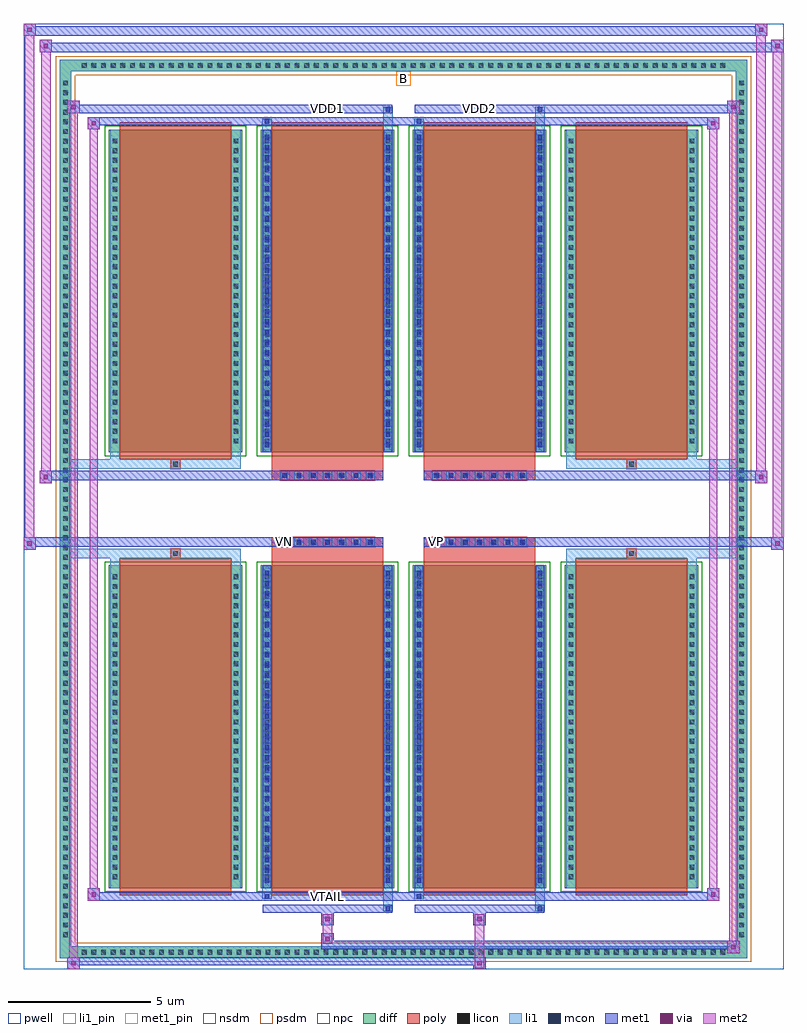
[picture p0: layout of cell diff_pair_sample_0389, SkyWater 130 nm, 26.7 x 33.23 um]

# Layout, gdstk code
import gdstk
lib = gdstk.Library(unit=1e-6, precision=5e-09)
def R(c, l, rs):  # rectangles x0, y0, x1, y1
    for r in rs: c.add(gdstk.rectangle(r[:2], r[2:], *l))
def A(c, l, x, y, w, h, nx, ny, dx, dy):  # array of equal rectangles
    R(c, l, [(x+i*dx, y+j*dy, x+i*dx+w, y+j*dy+h) for i in range(nx) for j in range(ny)])
def P(c, l, *ps):  # polygons
    for p in ps: c.add(gdstk.Polygon(p, *l))
pwell = (64, 44)
diff = (65, 20)
poly = (66, 20)
licon = (66, 44)
li1_pin = (67, 16)
li1 = (67, 20)
mcon = (67, 44)
met1_pin = (68, 16)
met1 = (68, 20)
via = (68, 44)
met2 = (69, 20)
nsdm = (93, 44)
psdm = (94, 20)
npc = (95, 20)

diff_pair_sample_0389 = lib.new_cell('diff_pair_sample_0389')
R(diff_pair_sample_0389, pwell, [(-13.35,-16.18,13.35,17.05), (-10.67,-14.37,-0.01,-0.805), (0.01,-14.37,10.67,-0.805), (-10.67,0.805,-0.01,14.37), (0.01,0.805,10.67,14.37)])
A(diff_pair_sample_0389, diff, -11.425, -15.78, 0.41, 0.41, 67, 2, 0.34, 31.15)
A(diff_pair_sample_0389, diff, -12.08, -15.165, 0.41, 0.41, 1, 89, 0, 0.34)
A(diff_pair_sample_0389, diff, 11.67, -15.165, 0.41, 0.41, 1, 89, 0, 0.34)
A(diff_pair_sample_0389, diff, -10.36, -13.325, 4.7, 11.34, 4, 2, 5.34, 15.31)
R(diff_pair_sample_0389, diff, [(-11.425,-15.78,11.425,-15.37), (-12.08,-15.165,-11.67,15.165), (11.67,-15.165,12.08,15.165), (-11.425,15.37,11.425,15.78)])
P(diff_pair_sample_0389, diff, [(12.08,15.78),(-12.08,15.78),(-12.08,-15.37),(-11.67,-15.37),(-11.67,15.37),(11.67,15.37),(11.67,-15.37),(-11.67,-15.37),(-12.08,-15.37),(-12.08,-15.78),(12.08,-15.78)])
A(diff_pair_sample_0389, poly, -9.97, -13.575, 3.92, 11.84, 4, 2, 5.34, 15.31)
A(diff_pair_sample_0389, poly, -4.335, -1.335, 0.33, 0.33, 7, 2, 0.5, 2.34)
A(diff_pair_sample_0389, poly, 1.005, -1.335, 0.33, 0.33, 7, 2, 0.5, 2.34)
R(diff_pair_sample_0389, poly, [(-8.175,-1.735,-7.845,-1.405), (-8.175,-1.735,-7.845,-1.405), (-4.63,-1.735,-0.71,-1.335), (0.71,-1.735,4.63,-1.335), (7.845,-1.735,8.175,-1.405), (7.845,-1.735,8.175,-1.405), (-4.63,-1.335,-0.71,-1.005), (0.71,-1.335,4.63,-1.005), (-4.63,1.005,-0.71,1.335), (0.71,1.005,4.63,1.335), (-4.63,1.335,-0.71,1.735), (0.71,1.335,4.63,1.735), (-8.175,1.405,-7.845,1.735), (-8.175,1.405,-7.845,1.735), (7.845,1.405,8.175,1.735), (7.845,1.405,8.175,1.735)])
A(diff_pair_sample_0389, licon, -11.305, -15.66, 0.17, 0.17, 67, 2, 0.34, 31.15)
A(diff_pair_sample_0389, licon, -11.96, -15.045, 0.17, 0.17, 1, 89, 0, 0.34)
A(diff_pair_sample_0389, licon, 11.79, -15.045, 0.17, 0.17, 1, 89, 0, 0.34)
A(diff_pair_sample_0389, licon, -10.22, -13.01, 0.17, 0.17, 1, 32, 0, 0.34)
A(diff_pair_sample_0389, licon, -5.97, -13.01, 0.17, 0.17, 1, 32, 0, 0.34)
A(diff_pair_sample_0389, licon, -4.88, -13.01, 0.17, 0.17, 1, 32, 0, 0.34)
A(diff_pair_sample_0389, licon, -0.63, -13.01, 0.17, 0.17, 1, 32, 0, 0.34)
A(diff_pair_sample_0389, licon, 0.46, -13.01, 0.17, 0.17, 1, 32, 0, 0.34)
A(diff_pair_sample_0389, licon, 4.71, -13.01, 0.17, 0.17, 1, 32, 0, 0.34)
A(diff_pair_sample_0389, licon, 5.8, -13.01, 0.17, 0.17, 1, 32, 0, 0.34)
A(diff_pair_sample_0389, licon, 10.05, -13.01, 0.17, 0.17, 1, 32, 0, 0.34)
A(diff_pair_sample_0389, licon, -4.255, -1.255, 0.17, 0.17, 7, 2, 0.5, 2.34)
A(diff_pair_sample_0389, licon, 1.085, -1.255, 0.17, 0.17, 7, 2, 0.5, 2.34)
A(diff_pair_sample_0389, licon, -10.22, 2.3, 0.17, 0.17, 1, 32, 0, 0.34)
A(diff_pair_sample_0389, licon, -5.97, 2.3, 0.17, 0.17, 1, 32, 0, 0.34)
A(diff_pair_sample_0389, licon, -4.88, 2.3, 0.17, 0.17, 1, 32, 0, 0.34)
A(diff_pair_sample_0389, licon, -0.63, 2.3, 0.17, 0.17, 1, 32, 0, 0.34)
A(diff_pair_sample_0389, licon, 0.46, 2.3, 0.17, 0.17, 1, 32, 0, 0.34)
A(diff_pair_sample_0389, licon, 4.71, 2.3, 0.17, 0.17, 1, 32, 0, 0.34)
A(diff_pair_sample_0389, licon, 5.8, 2.3, 0.17, 0.17, 1, 32, 0, 0.34)
A(diff_pair_sample_0389, licon, 10.05, 2.3, 0.17, 0.17, 1, 32, 0, 0.34)
R(diff_pair_sample_0389, licon, [(-8.095,-1.655,-7.925,-1.485), (7.925,-1.655,8.095,-1.485), (-8.095,1.485,-7.925,1.655), (7.925,1.485,8.095,1.655)])
R(diff_pair_sample_0389, li1_pin, [(-0.25,14.87,0.25,15.37)])
A(diff_pair_sample_0389, li1, -11.385, -15.74, 0.33, 0.33, 67, 2, 0.34, 31.15)
A(diff_pair_sample_0389, li1, -12.04, -15.125, 0.33, 0.33, 1, 89, 0, 0.34)
A(diff_pair_sample_0389, li1, 11.71, -15.125, 0.33, 0.33, 1, 89, 0, 0.34)
A(diff_pair_sample_0389, li1, -4.88, -13.14, 0.17, 0.17, 1, 31, 0, 0.36)
A(diff_pair_sample_0389, li1, -0.63, -13.14, 0.17, 0.17, 1, 31, 0, 0.36)
A(diff_pair_sample_0389, li1, 0.46, -13.14, 0.17, 0.17, 1, 31, 0, 0.36)
A(diff_pair_sample_0389, li1, 4.71, -13.14, 0.17, 0.17, 1, 31, 0, 0.36)
A(diff_pair_sample_0389, li1, -10.3, -13.09, 0.33, 0.33, 1, 32, 0, 0.34)
A(diff_pair_sample_0389, li1, -6.05, -13.09, 0.33, 0.33, 1, 32, 0, 0.34)
A(diff_pair_sample_0389, li1, -4.96, -13.09, 0.33, 0.33, 1, 32, 0, 0.34)
A(diff_pair_sample_0389, li1, -0.71, -13.09, 0.33, 0.33, 1, 32, 0, 0.34)
A(diff_pair_sample_0389, li1, 0.38, -13.09, 0.33, 0.33, 1, 32, 0, 0.34)
A(diff_pair_sample_0389, li1, 4.63, -13.09, 0.33, 0.33, 1, 32, 0, 0.34)
A(diff_pair_sample_0389, li1, 5.72, -13.09, 0.33, 0.33, 1, 32, 0, 0.34)
A(diff_pair_sample_0389, li1, 9.97, -13.09, 0.33, 0.33, 1, 32, 0, 0.34)
A(diff_pair_sample_0389, li1, -4.335, -1.335, 0.33, 0.33, 7, 2, 0.5, 2.34)
A(diff_pair_sample_0389, li1, 1.005, -1.335, 0.33, 0.33, 7, 2, 0.5, 2.34)
A(diff_pair_sample_0389, li1, -4.88, 2.17, 0.17, 0.17, 1, 31, 0, 0.36)
A(diff_pair_sample_0389, li1, -0.63, 2.17, 0.17, 0.17, 1, 31, 0, 0.36)
A(diff_pair_sample_0389, li1, 0.46, 2.17, 0.17, 0.17, 1, 31, 0, 0.36)
A(diff_pair_sample_0389, li1, 4.71, 2.17, 0.17, 0.17, 1, 31, 0, 0.36)
A(diff_pair_sample_0389, li1, -10.3, 2.22, 0.33, 0.33, 1, 32, 0, 0.34)
A(diff_pair_sample_0389, li1, -6.05, 2.22, 0.33, 0.33, 1, 32, 0, 0.34)
A(diff_pair_sample_0389, li1, -4.96, 2.22, 0.33, 0.33, 1, 32, 0, 0.34)
A(diff_pair_sample_0389, li1, -0.71, 2.22, 0.33, 0.33, 1, 32, 0, 0.34)
A(diff_pair_sample_0389, li1, 0.38, 2.22, 0.33, 0.33, 1, 32, 0, 0.34)
A(diff_pair_sample_0389, li1, 4.63, 2.22, 0.33, 0.33, 1, 32, 0, 0.34)
A(diff_pair_sample_0389, li1, 5.72, 2.22, 0.33, 0.33, 1, 32, 0, 0.34)
A(diff_pair_sample_0389, li1, 9.97, 2.22, 0.33, 0.33, 1, 32, 0, 0.34)
R(diff_pair_sample_0389, li1, [(-12.08,-15.78,-11.67,-15.37), (-12.08,-15.78,-11.67,-15.37), (-11.67,-15.78,11.67,-15.37), (11.67,-15.78,12.08,-15.37), (11.67,-15.78,12.08,-15.37), (-12.08,-15.37,-11.67,15.37), (11.67,-15.37,12.08,15.37), (-0.71,-14.13,-0.38,-13.325), (-0.63,-14.13,-0.46,-13.96), (4.63,-14.13,4.96,-13.325), (4.71,-14.13,4.88,-13.96), (-4.96,-13.7,-4.63,-13.325), (-4.88,-13.7,-4.71,-13.53), (0.38,-13.7,0.71,-13.325), (0.46,-13.7,0.63,-13.53), (-10.3,-13.325,-9.97,-1.985), (-6.05,-13.325,-5.72,-1.985), (-4.96,-13.325,-4.63,-1.985), (-0.71,-13.325,-0.38,-1.985), (0.38,-13.325,0.71,-1.985), (4.63,-13.325,4.96,-1.985), (5.72,-13.325,6.05,-1.985), (9.97,-13.325,10.3,-1.985), (-4.88,-13.14,-4.71,-2.17), (-0.63,-13.14,-0.46,-2.17), (0.46,-13.14,0.63,-2.17), (4.71,-13.14,4.88,-2.17), (-10.3,-1.985,-9.97,-1.405), (-6.05,-1.985,-5.72,-1.405), (5.72,-1.985,6.05,-1.405), (9.97,-1.985,10.3,-1.405), (-12.08,-1.735,-8.175,-1.405), (-10.3,-1.735,-8.175,-1.405), (-8.175,-1.735,-7.845,-1.405), (-7.845,-1.735,-5.72,-1.405), (5.72,-1.735,7.845,-1.405), (7.845,-1.735,8.175,-1.405), (7.845,-1.735,12.08,-1.405), (8.175,-1.735,10.3,-1.405), (-12.08,1.405,-8.175,1.735), (-10.3,1.405,-8.175,1.735), (-10.3,1.405,-9.97,1.985), (-8.175,1.405,-7.845,1.735), (-7.845,1.405,-5.72,1.735), (-6.05,1.405,-5.72,1.985), (5.72,1.405,7.845,1.735), (5.72,1.405,6.05,1.985), (7.845,1.405,8.175,1.735), (7.845,1.405,12.08,1.735), (8.175,1.405,10.3,1.735), (9.97,1.405,10.3,1.985), (-10.3,1.985,-9.97,13.325), (-6.05,1.985,-5.72,13.325), (-4.96,1.985,-4.63,13.325), (-0.71,1.985,-0.38,13.325), (0.38,1.985,0.71,13.325), (4.63,1.985,4.96,13.325), (5.72,1.985,6.05,13.325), (9.97,1.985,10.3,13.325), (-4.88,2.17,-4.71,13.14), (-0.63,2.17,-0.46,13.14), (0.46,2.17,0.63,13.14), (4.71,2.17,4.88,13.14), (-4.96,13.325,-4.63,13.7), (-0.71,13.325,-0.38,14.13), (0.38,13.325,0.71,13.7), (4.63,13.325,4.96,14.13), (-4.88,13.53,-4.71,13.7), (0.46,13.53,0.63,13.7), (-0.63,13.96,-0.46,14.13), (4.71,13.96,4.88,14.13), (-12.08,15.37,-11.67,15.78), (-12.08,15.37,-11.67,15.78), (-11.67,15.37,11.67,15.78), (11.67,15.37,12.08,15.78), (11.67,15.37,12.08,15.78)])
A(diff_pair_sample_0389, mcon, -4.88, -13.14, 0.17, 0.17, 1, 31, 0, 0.36)
A(diff_pair_sample_0389, mcon, -0.63, -13.14, 0.17, 0.17, 1, 31, 0, 0.36)
A(diff_pair_sample_0389, mcon, 0.46, -13.14, 0.17, 0.17, 1, 31, 0, 0.36)
A(diff_pair_sample_0389, mcon, 4.71, -13.14, 0.17, 0.17, 1, 31, 0, 0.36)
A(diff_pair_sample_0389, mcon, -4.255, -1.255, 0.17, 0.17, 7, 2, 0.5, 2.34)
A(diff_pair_sample_0389, mcon, 1.085, -1.255, 0.17, 0.17, 7, 2, 0.5, 2.34)
A(diff_pair_sample_0389, mcon, -4.88, 2.17, 0.17, 0.17, 1, 31, 0, 0.36)
A(diff_pair_sample_0389, mcon, -0.63, 2.17, 0.17, 0.17, 1, 31, 0, 0.36)
A(diff_pair_sample_0389, mcon, 0.46, 2.17, 0.17, 0.17, 1, 31, 0, 0.36)
A(diff_pair_sample_0389, mcon, 4.71, 2.17, 0.17, 0.17, 1, 31, 0, 0.36)
R(diff_pair_sample_0389, mcon, [(-0.63,-14.13,-0.46,-13.96), (4.71,-14.13,4.88,-13.96), (-4.88,-13.7,-4.71,-13.53), (0.46,-13.7,0.63,-13.53), (-4.88,13.53,-4.71,13.7), (0.46,13.53,0.63,13.7), (-0.63,13.96,-0.46,14.13), (4.71,13.96,4.88,14.13)])
R(diff_pair_sample_0389, met1_pin, [(-2.805,-13.74,-2.535,-13.47), (-4.305,-1.295,-4.035,-1.025), (1.035,-1.295,1.305,-1.025), (-2.805,13.92,-2.535,14.19), (2.535,13.92,2.805,14.19)])
A(diff_pair_sample_0389, met1, -4.94, -13.2, 0.29, 0.29, 1, 31, 0, 0.36)
A(diff_pair_sample_0389, met1, -0.69, -13.2, 0.29, 0.29, 1, 31, 0, 0.36)
A(diff_pair_sample_0389, met1, 0.4, -13.2, 0.29, 0.29, 1, 31, 0, 0.36)
A(diff_pair_sample_0389, met1, 4.65, -13.2, 0.29, 0.29, 1, 31, 0, 0.36)
A(diff_pair_sample_0389, met1, -4.315, -1.315, 0.29, 0.29, 7, 2, 0.5, 2.34)
A(diff_pair_sample_0389, met1, 1.025, -1.315, 0.29, 0.29, 7, 2, 0.5, 2.34)
A(diff_pair_sample_0389, met1, -4.94, 2.11, 0.29, 0.29, 1, 31, 0, 0.36)
A(diff_pair_sample_0389, met1, -0.69, 2.11, 0.29, 0.29, 1, 31, 0, 0.36)
A(diff_pair_sample_0389, met1, 0.4, 2.11, 0.29, 0.29, 1, 31, 0, 0.36)
A(diff_pair_sample_0389, met1, 4.65, 2.11, 0.29, 0.29, 1, 31, 0, 0.36)
R(diff_pair_sample_0389, met1, [(-11.81,-16.18,-11.38,-15.75), (2.455,-16.18,2.885,-15.75), (-11.81,-16.04,2.885,-15.75), (11.38,-15.61,11.81,-15.18), (-2.885,-15.47,11.81,-15.18), (-2.885,-15.33,-2.455,-14.9), (-2.885,-14.62,-2.455,-14.19), (2.455,-14.62,2.885,-14.19), (-4.94,-14.19,-0.4,-13.9), (-0.69,-14.19,-0.4,-13.9), (0.4,-14.19,4.94,-13.9), (4.65,-14.19,4.94,-13.9), (-11.1,-13.76,-10.67,-13.33), (-11.1,-13.76,-4.94,-13.47), (-4.94,-13.76,-4.65,-13.47), (-4.94,-13.76,-0.4,-13.47), (-0.4,-13.76,0.4,-13.47), (0.4,-13.76,0.69,-13.47), (0.4,-13.76,4.94,-13.47), (4.94,-13.76,11.1,-13.47), (10.67,-13.76,11.1,-13.33), (-4.94,-13.325,-4.65,-1.985), (-0.69,-13.325,-0.4,-1.985), (0.4,-13.325,0.69,-1.985), (4.65,-13.325,4.94,-1.985), (-13.35,-1.435,-12.92,-1.005), (12.92,-1.435,13.35,-1.005), (-13.35,-1.335,-0.71,-1.005), (-4.63,-1.335,-0.71,-1.005), (0.71,-1.335,4.63,-1.005), (0.71,-1.335,13.35,-1.005), (-12.78,0.905,-12.35,1.335), (12.35,0.905,12.78,1.335), (-12.78,1.005,-4.63,1.335), (-4.63,1.005,-0.71,1.335), (0.71,1.005,4.63,1.335), (4.63,1.005,12.78,1.335), (-4.94,1.985,-4.65,13.325), (-0.69,1.985,-0.4,13.325), (0.4,1.985,0.69,13.325), (4.65,1.985,4.94,13.325), (-11.1,13.33,-10.67,13.76), (10.67,13.33,11.1,13.76), (-11.1,13.47,-4.94,13.76), (-4.94,13.47,-4.65,13.76), (-4.94,13.47,-0.4,13.76), (-0.4,13.47,0.4,13.76), (0.4,13.47,0.69,13.76), (0.4,13.47,4.94,13.76), (4.94,13.47,11.1,13.76), (-11.81,13.9,-11.38,14.33), (-11.81,13.9,-4.94,14.19), (-4.94,13.9,-0.4,14.19), (-0.69,13.9,-0.4,14.19), (0.4,13.9,4.94,14.19), (4.65,13.9,4.94,14.19), (4.94,13.9,11.81,14.19), (11.38,13.9,11.81,14.33), (-12.78,16.05,-12.35,16.48), (-12.78,16.05,-10.67,16.38), (-10.67,16.05,10.67,16.38), (10.67,16.05,13.35,16.38), (12.92,16.05,13.35,16.48), (-13.35,16.62,-12.92,17.05), (-13.35,16.62,-10.67,16.95), (-10.67,16.62,10.67,16.95), (10.67,16.62,12.78,16.95), (12.35,16.62,12.78,17.05)])
R(diff_pair_sample_0389, via, [(-11.67,-16.04,-11.52,-15.89), (2.595,-16.04,2.745,-15.89), (11.52,-15.47,11.67,-15.32), (-2.745,-15.19,-2.595,-15.04), (-2.745,-14.48,-2.595,-14.33), (2.595,-14.48,2.745,-14.33), (-10.96,-13.62,-10.81,-13.47), (10.81,-13.62,10.96,-13.47), (-13.21,-1.295,-13.06,-1.145), (13.06,-1.295,13.21,-1.145), (-12.64,1.045,-12.49,1.195), (12.49,1.045,12.64,1.195), (-10.96,13.47,-10.81,13.62), (10.81,13.47,10.96,13.62), (-11.67,14.04,-11.52,14.19), (11.52,14.04,11.67,14.19), (-12.64,16.19,-12.49,16.34), (13.06,16.19,13.21,16.34), (-13.21,16.76,-13.06,16.91), (12.49,16.76,12.64,16.91)])
R(diff_pair_sample_0389, met2, [(-11.81,-16.18,-11.38,-15.75), (-11.74,-16.18,-11.45,14.33), (-11.45,-16.18,-11.38,-15.75), (-11.76,-16.13,-11.43,-15.8), (2.505,-16.13,2.835,-15.8), (2.505,-15.8,2.835,-14.57), (11.38,-15.61,11.81,-15.18), (11.45,-15.61,11.74,14.33), (11.74,-15.61,11.81,-15.18), (11.43,-15.56,11.76,-15.23), (-2.835,-15.28,-2.505,-14.95), (-2.835,-14.95,-2.505,-14.57), (-2.835,-14.57,-2.505,-14.24), (2.505,-14.57,2.835,-14.24), (-11.1,-13.76,-10.67,-13.33), (-11.03,-13.76,-10.74,13.76), (-10.74,-13.76,-10.67,-13.33), (10.67,-13.76,11.1,-13.33), (10.74,-13.76,11.03,13.76), (11.03,-13.76,11.1,-13.33), (-11.05,-13.71,-10.72,-13.38), (10.72,-13.71,11.05,-13.38), (-13.35,-1.435,-12.92,-1.005), (-13.3,-1.435,-12.97,17.05), (-12.97,-1.435,-12.92,-1.005), (12.92,-1.435,13.35,-1.005), (12.97,-1.435,13.3,16.48), (13.3,-1.435,13.35,-1.005), (-13.3,-1.385,-12.97,-1.055), (12.97,-1.385,13.3,-1.055), (-12.78,0.905,-12.35,1.335), (-12.73,0.905,-12.4,16.48), (-12.4,0.905,-12.35,1.335), (12.35,0.905,12.78,1.335), (12.4,0.905,12.73,17.05), (12.73,0.905,12.78,1.335), (-12.73,0.955,-12.4,1.285), (12.4,0.955,12.73,1.285), (-11.1,13.33,-10.67,13.76), (-10.74,13.33,-10.67,13.76), (10.67,13.33,11.1,13.76), (11.03,13.33,11.1,13.76), (-11.05,13.38,-10.72,13.71), (10.72,13.38,11.05,13.71), (-11.81,13.9,-11.38,14.33), (-11.45,13.9,-11.38,14.33), (11.38,13.9,11.81,14.33), (11.74,13.9,11.81,14.33), (-11.76,13.95,-11.43,14.28), (11.43,13.95,11.76,14.28), (-12.78,16.05,-12.35,16.48), (-12.4,16.05,-12.35,16.48), (12.92,16.05,13.35,16.48), (13.3,16.05,13.35,16.48), (-12.73,16.1,-12.4,16.43), (12.97,16.1,13.3,16.43), (-13.35,16.62,-12.92,17.05), (-12.97,16.62,-12.92,17.05), (12.35,16.62,12.78,17.05), (12.73,16.62,12.78,17.05), (-13.3,16.67,-12.97,17), (12.4,16.67,12.73,17)])
A(diff_pair_sample_0389, nsdm, -10.49, -13.455, 4.96, 11.6, 4, 2, 5.34, 15.31)
P(diff_pair_sample_0389, psdm, [(12.21,15.91),(-12.21,15.91),(-12.21,-15.24),(-11.54,-15.24),(-11.54,15.24),(11.54,15.24),(11.54,-15.24),(-11.54,-15.24),(-12.21,-15.24),(-12.21,-15.91),(12.21,-15.91)])
A(diff_pair_sample_0389, npc, -4.355, -1.355, 0.37, 0.37, 7, 2, 0.5, 2.34)
A(diff_pair_sample_0389, npc, 0.985, -1.355, 0.37, 0.37, 7, 2, 0.5, 2.34)
R(diff_pair_sample_0389, npc, [(-8.195,-1.755,-7.825,-1.385), (7.825,-1.755,8.195,-1.385), (-4.355,-1.355,-3.485,-0.985), (-4.355,-1.355,-3.485,-0.985), (-3.855,-1.355,-2.985,-0.985), (-3.855,-1.355,-2.985,-0.985), (-3.355,-1.355,-2.485,-0.985), (-3.355,-1.355,-2.485,-0.985), (-2.855,-1.355,-1.985,-0.985), (-2.855,-1.355,-1.985,-0.985), (-2.355,-1.355,-1.485,-0.985), (-2.355,-1.355,-1.485,-0.985), (-1.855,-1.355,-0.985,-0.985), (-1.855,-1.355,-0.985,-0.985), (0.985,-1.355,1.855,-0.985), (0.985,-1.355,1.855,-0.985), (1.485,-1.355,2.355,-0.985), (1.485,-1.355,2.355,-0.985), (1.985,-1.355,2.855,-0.985), (1.985,-1.355,2.855,-0.985), (2.485,-1.355,3.355,-0.985), (2.485,-1.355,3.355,-0.985), (2.985,-1.355,3.855,-0.985), (2.985,-1.355,3.855,-0.985), (3.485,-1.355,4.355,-0.985), (3.485,-1.355,4.355,-0.985), (-4.355,0.985,-3.485,1.355), (-4.355,0.985,-3.485,1.355), (-3.855,0.985,-2.985,1.355), (-3.855,0.985,-2.985,1.355), (-3.355,0.985,-2.485,1.355), (-3.355,0.985,-2.485,1.355), (-2.855,0.985,-1.985,1.355), (-2.855,0.985,-1.985,1.355), (-2.355,0.985,-1.485,1.355), (-2.355,0.985,-1.485,1.355), (-1.855,0.985,-0.985,1.355), (-1.855,0.985,-0.985,1.355), (0.985,0.985,1.855,1.355), (0.985,0.985,1.855,1.355), (1.485,0.985,2.355,1.355), (1.485,0.985,2.355,1.355), (1.985,0.985,2.855,1.355), (1.985,0.985,2.855,1.355), (2.485,0.985,3.355,1.355), (2.485,0.985,3.355,1.355), (2.985,0.985,3.855,1.355), (2.985,0.985,3.855,1.355), (3.485,0.985,4.355,1.355), (3.485,0.985,4.355,1.355), (-8.195,1.385,-7.825,1.755), (7.825,1.385,8.195,1.755)])
diff_pair_sample_0389.add(gdstk.Label('VTAIL', (-2.67,-13.605), layer=68, texttype=5))
diff_pair_sample_0389.add(gdstk.Label('VN', (-4.17,-1.16), layer=68, texttype=5))
diff_pair_sample_0389.add(gdstk.Label('VP', (1.17,-1.16), layer=68, texttype=5))
diff_pair_sample_0389.add(gdstk.Label('B', (0,15.12), layer=67, texttype=5))
diff_pair_sample_0389.add(gdstk.Label('VDD2', (2.67,14.055), layer=68, texttype=5))
diff_pair_sample_0389.add(gdstk.Label('VDD1', (-2.67,14.055), layer=68, texttype=5))

lib.write_gds('diff_pair_sample_0389.gds')
